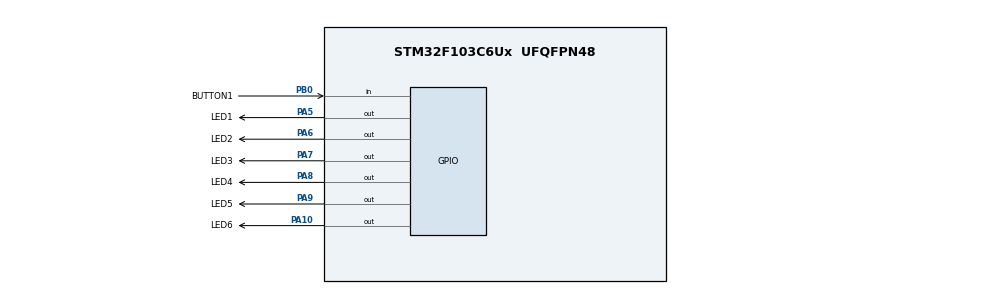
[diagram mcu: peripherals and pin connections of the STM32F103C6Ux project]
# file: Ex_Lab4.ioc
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Mcu.Family=STM32F1
Mcu.Name=STM32F103C6Ux
Mcu.Package=UFQFPN48
NVIC.PriorityGroup=NVIC_PRIORITYGROUP_4
NVIC.TIM2_IRQn=true\:0\:0\:false\:false\:true\:true\:true
PA10.GPIO_Label=LED6
PA10.Signal=GPIO_Output
PA5.GPIO_Label=LED1
PA5.Signal=GPIO_Output
PA6.GPIO_Label=LED2
PA6.Signal=GPIO_Output
PA7.GPIO_Label=LED3
PA7.Signal=GPIO_Output
PA8.GPIO_Label=LED4
PA8.Signal=GPIO_Output
PA9.GPIO_Label=LED5
PA9.Signal=GPIO_Output
PB0.GPIO_Label=BUTTON1
PB0.Signal=GPIO_Input
ProjectManager.HeapSize=0x200
ProjectManager.StackSize=0x400
ProjectManager.TargetToolchain=STM32CubeIDE
RCC.APB1Freq_Value=8000000
RCC.APB2Freq_Value=8000000
TIM2.Period=9
TIM2.Prescaler=7999
VP_SYS_VS_ND.Mode=No_Debug
VP_TIM2_VS_ClockSourceINT.Mode=Internal
board=custom

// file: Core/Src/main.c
/* USER CODE BEGIN Header */
/**
  ******************************************************************************
  * @file           : main.c
  * @brief          : Main program body
  ******************************************************************************
  * @attention
  *
  * <h2><center>&copy; Copyright (c) 2024 STMicroelectronics.
  * All rights reserved.</center></h2>
  *
  * This software component is licensed by ST under BSD 3-Clause license,
  * the "License"; You may not use this file except in compliance with the
  * License. You may obtain a copy of the License at:
  *                        opensource.org/licenses/BSD-3-Clause
  *
  ******************************************************************************
  */
/* USER CODE END Header */
#include "main.h"

/* USER CODE BEGIN Includes */
#include "scheduler.h"
#include "button.h"

/* USER CODE END Includes */

TIM_HandleTypeDef htim2;

void SystemClock_Config(void);
static void MX_GPIO_Init(void);
static void MX_TIM2_Init(void);

/* USER CODE BEGIN 0 */
void Func1(){
	HAL_GPIO_TogglePin(LED1_GPIO_Port, LED1_Pin);
}

void Func2(){
	HAL_GPIO_TogglePin(LED2_GPIO_Port, LED2_Pin);
}

void Func3(){
	HAL_GPIO_TogglePin(LED3_GPIO_Port, LED3_Pin);
}

void Func4(){
	HAL_GPIO_TogglePin(LED4_GPIO_Port, LED4_Pin);
}

void Func5(){
	HAL_GPIO_TogglePin(LED5_GPIO_Port, LED5_Pin);
}

void Func6(){
	if(is_button_pressed_short(0) == 1){
		HAL_GPIO_TogglePin(LED6_GPIO_Port, LED6_Pin);
	} else if(is_button_pressed_1s(0) == 1){
		HAL_GPIO_TogglePin(LED6_GPIO_Port, LED6_Pin);
	}
}

/* USER CODE END 0 */

int main(void)
{

  /* MCU Configuration--------------------------------------------------------*/

  /* Reset of all peripherals, Initializes the Flash interface and the Systick. */
  HAL_Init();

  /* Configure the system clock */
  SystemClock_Config();

  /* Initialize all configured peripherals */
  MX_GPIO_Init();
  MX_TIM2_Init();
  /* USER CODE BEGIN 2 */
  HAL_TIM_Base_Start_IT(&htim2);

  /* USER CODE END 2 */

  /* Infinite loop */
  /* USER CODE BEGIN WHILE */
  SCH_Add_Task(Func1, 0, 500);		// Task 1 to blink LED every 500ms	(Periodic)
  SCH_Add_Task(Func2, 10, 1000);	// Task 2 to blink LED every 1000ms	(Periodic)
  SCH_Add_Task(Func3, 20, 1500);	// Task 3 to blink LED every 1500ms	(Periodic)
  SCH_Add_Task(Func4, 30, 2000);	// Task 4 to blink LED every 2000ms	(Periodic)
  SCH_Add_Task(Func5, 2500, 0);		// Task 5 to blink LED after 2500ms	(One-shot)
  SCH_Add_Task(Func6, 40, 10);		// Task 6 to blink LED when the BUTTON1 is pressed
  SCH_Add_Task(button_reading, 50, 10);	// Task to read the state of the BUTTON1

  while (1)
  {
	  SCH_Dispatch_Tasks();
    /* USER CODE END WHILE */

  }
}

void SystemClock_Config(void)
{
  RCC_OscInitTypeDef RCC_OscInitStruct = {0};
  RCC_ClkInitTypeDef RCC_ClkInitStruct = {0};

  /** Initializes the RCC Oscillators according to the specified parameters
  * in the RCC_OscInitTypeDef structure.
  */
  RCC_OscInitStruct.OscillatorType = RCC_OSCILLATORTYPE_HSI;
  RCC_OscInitStruct.HSIState = RCC_HSI_ON;
  RCC_OscInitStruct.HSICalibrationValue = RCC_HSICALIBRATION_DEFAULT;
  RCC_OscInitStruct.PLL.PLLState = RCC_PLL_NONE;
  if (HAL_RCC_OscConfig(&RCC_OscInitStruct) != HAL_OK)
  {
    Error_Handler();
  }
  /** Initializes the CPU, AHB and APB buses clocks
  */
  RCC_ClkInitStruct.ClockType = RCC_CLOCKTYPE_HCLK|RCC_CLOCKTYPE_SYSCLK
                              |RCC_CLOCKTYPE_PCLK1|RCC_CLOCKTYPE_PCLK2;
  RCC_ClkInitStruct.SYSCLKSource = RCC_SYSCLKSOURCE_HSI;
  RCC_ClkInitStruct.AHBCLKDivider = RCC_SYSCLK_DIV1;
  RCC_ClkInitStruct.APB1CLKDivider = RCC_HCLK_DIV1;
  RCC_ClkInitStruct.APB2CLKDivider = RCC_HCLK_DIV1;

  if (HAL_RCC_ClockConfig(&RCC_ClkInitStruct, FLASH_LATENCY_0) != HAL_OK)
  {
    Error_Handler();
  }
}

static void MX_TIM2_Init(void)
{

  TIM_ClockConfigTypeDef sClockSourceConfig = {0};
  TIM_MasterConfigTypeDef sMasterConfig = {0};

  htim2.Instance = TIM2;
  htim2.Init.Prescaler = 7999;
  htim2.Init.CounterMode = TIM_COUNTERMODE_UP;
  htim2.Init.Period = 9;
  htim2.Init.ClockDivision = TIM_CLOCKDIVISION_DIV1;
  htim2.Init.AutoReloadPreload = TIM_AUTORELOAD_PRELOAD_DISABLE;
  if (HAL_TIM_Base_Init(&htim2) != HAL_OK)
  {
    Error_Handler();
  }
  sClockSourceConfig.ClockSource = TIM_CLOCKSOURCE_INTERNAL;
  if (HAL_TIM_ConfigClockSource(&htim2, &sClockSourceConfig) != HAL_OK)
  {
    Error_Handler();
  }
  sMasterConfig.MasterOutputTrigger = TIM_TRGO_RESET;
  sMasterConfig.MasterSlaveMode = TIM_MASTERSLAVEMODE_DISABLE;
  if (HAL_TIMEx_MasterConfigSynchronization(&htim2, &sMasterConfig) != HAL_OK)
  {
    Error_Handler();
  }

}

static void MX_GPIO_Init(void)
{
  GPIO_InitTypeDef GPIO_InitStruct = {0};

  /* GPIO Ports Clock Enable */
  __HAL_RCC_GPIOA_CLK_ENABLE();
  __HAL_RCC_GPIOB_CLK_ENABLE();

  /*Configure GPIO pin Output Level */
  HAL_GPIO_WritePin(GPIOA, LED1_Pin|LED2_Pin|LED3_Pin|LED4_Pin
                          |LED5_Pin|LED6_Pin, GPIO_PIN_RESET);

  /*Configure GPIO pins : LED1_Pin LED2_Pin LED3_Pin LED4_Pin
                           LED5_Pin LED6_Pin */
  GPIO_InitStruct.Pin = LED1_Pin|LED2_Pin|LED3_Pin|LED4_Pin
                          |LED5_Pin|LED6_Pin;
  GPIO_InitStruct.Mode = GPIO_MODE_OUTPUT_PP;
  GPIO_InitStruct.Pull = GPIO_NOPULL;
  GPIO_InitStruct.Speed = GPIO_SPEED_FREQ_LOW;
  HAL_GPIO_Init(GPIOA, &GPIO_InitStruct);

  /*Configure GPIO pin : BUTTON1_Pin */
  GPIO_InitStruct.Pin = BUTTON1_Pin;
  GPIO_InitStruct.Mode = GPIO_MODE_INPUT;
  GPIO_InitStruct.Pull = GPIO_NOPULL;
  HAL_GPIO_Init(BUTTON1_GPIO_Port, &GPIO_InitStruct);

}

/* USER CODE BEGIN 4 */
void HAL_TIM_PeriodElapsedCallback(TIM_HandleTypeDef *htim){
	if(htim->Instance == TIM2){
		SCH_Update();
	}
}

/* USER CODE END 4 */

void Error_Handler(void)
{
  __disable_irq();
  while (1)
  {
  }
}

/************************ (C) COPYRIGHT STMicroelectronics *****END OF FILE****/
